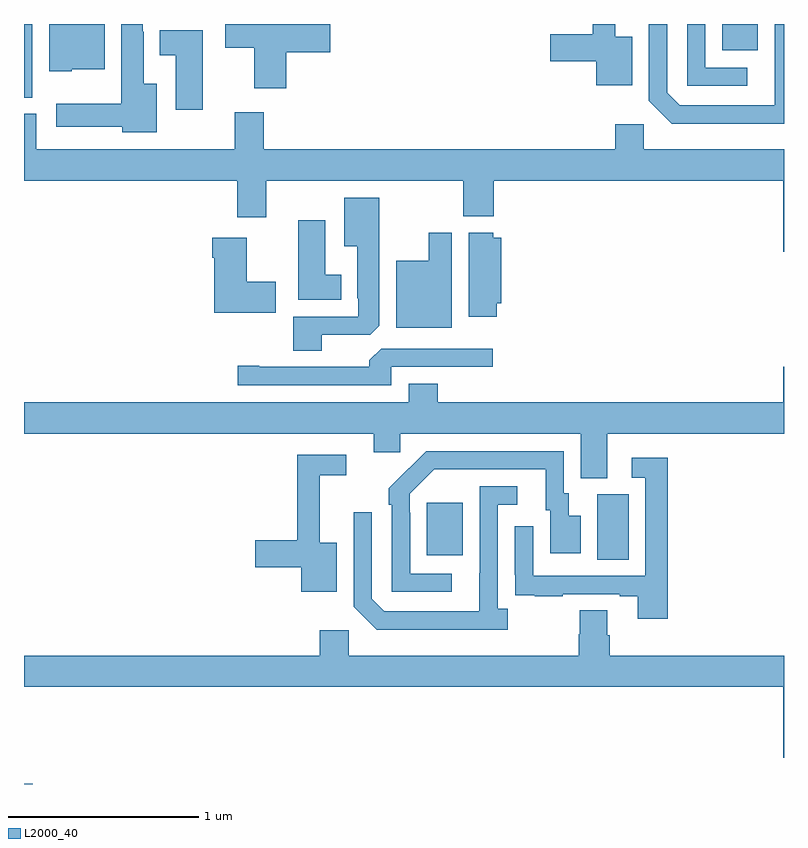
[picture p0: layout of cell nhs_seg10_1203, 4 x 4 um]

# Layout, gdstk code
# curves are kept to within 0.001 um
import gdstk
lib = gdstk.Library(unit=1e-6, precision=1e-09)
def R(c, l, rs):  # rectangles x0, y0, x1, y1
    for r in rs: c.add(gdstk.rectangle(r[:2], r[2:], *l))
def P(c, l, *ps):  # polygons
    for p in ps: c.add(gdstk.Polygon(p, *l))
L2000_40 = (2000, 40)

nhs_seg10_1203 = lib.new_cell('nhs_seg10_1203')
R(nhs_seg10_1203, L2000_40, [(173,1270.5,173.046,1270.502), (176.018,1271.68,176.182,1272.024), (175.121,1271.705,175.309,1271.98), (173,1274.113,173.044,1274.5), (176.675,1274.363,176.863,1274.5)])
P(nhs_seg10_1203, L2000_40, [(176.806,1274.271),(176.586,1274.271),(176.586,1274.5),(176.49,1274.5),(176.49,1274.175),(176.806,1274.175)],
  [(177,1274.5),(176.952,1274.5),(176.952,1274.073),(176.451,1274.073),(176.385,1274.139),(176.385,1274.5),(176.289,1274.5),(176.289,1274.097),(176.41,1273.976),(177,1273.976)],
  [(176.2,1274.434),(176.111,1274.434),(176.111,1274.5),(175.993,1274.5),(175.993,1274.447),(175.77,1274.447),(175.77,1274.305),(176.012,1274.305),(176.012,1274.177),(176.2,1274.177)],
  [(173.698,1274.185),(173.629,1274.185),(173.629,1274.459),(173.625,1274.459),(173.625,1274.5),(173.513,1274.5),(173.513,1274.08),(173.169,1274.08),(173.169,1273.958),(173.517,1273.958),(173.517,1273.931),(173.698,1273.931)],
  [(173.25,1274.261),(173.425,1274.261),(173.425,1274.5),(173.132,1274.5),(173.132,1274.252),(173.25,1274.252)],
  [(174.38,1274.351),(174.613,1274.351),(174.613,1274.498),(174.367,1274.498),(174.367,1274.5),(174.06,1274.5),(174.06,1274.374),(174.212,1274.374),(174.212,1274.163),(174.38,1274.163)],
  [(173.941,1274.467),(173.714,1274.467),(173.714,1274.336),(173.798,1274.336),(173.798,1274.049),(173.941,1274.049)],
  [(177,1273.84),(176.262,1273.84),(176.262,1273.972),(176.111,1273.972),(176.111,1273.84),(174.263,1273.84),(174.263,1274.035),(174.11,1274.035),(174.11,1273.84),(173.065,1273.84),(173.065,1274.028),(173,1274.028),(173,1273.676),(174.122,1273.676),(174.122,1273.482),(174.274,1273.482),(174.274,1273.676),(175.312,1273.676),(175.312,1273.487),(175.472,1273.487),(175.472,1273.676),(176.996,1273.676),(176.996,1273.302),(177,1273.302)],
  [(174.568,1272.864),(174.822,1272.864),(174.871,1272.913),(174.871,1273.585),(174.686,1273.585),(174.686,1273.331),(174.755,1273.331),(174.755,1273.057),(174.759,1273.057),(174.759,1272.96),(174.416,1272.96),(174.416,1272.781),(174.568,1272.781)],
  [(174.67,1273.18),(174.586,1273.18),(174.586,1273.468),(174.443,1273.468),(174.443,1273.049),(174.67,1273.049)],
  [(175.487,1273.031),(175.513,1273.031),(175.513,1273.375),(175.47,1273.375),(175.47,1273.402),(175.34,1273.402),(175.34,1272.96),(175.487,1272.96)],
  [(175.252,1273.402),(175.13,1273.402),(175.13,1273.255),(174.959,1273.255),(174.959,1272.902),(175.252,1272.902)],
  [(174.325,1273.143),(174.172,1273.143),(174.172,1273.375),(173.99,1273.375),(173.99,1273.271),(174.002,1273.271),(174.002,1272.98),(174.325,1272.98)],
  [(174.933,1272.696),(175.468,1272.696),(175.468,1272.792),(174.879,1272.792),(174.818,1272.73),(174.818,1272.696),(174.238,1272.696),(174.238,1272.701),(174.126,1272.701),(174.126,1272.6),(174.933,1272.6)],
  [(176.071,1272.344),(177,1272.344),(177,1272.697),(176.996,1272.697),(176.996,1272.508),(175.178,1272.508),(175.178,1272.607),(175.025,1272.607),(175.025,1272.508),(173,1272.508),(173,1272.344),(174.842,1272.344),(174.842,1272.246),(174.981,1272.246),(174.981,1272.344),(175.931,1272.344),(175.931,1272.109),(176.071,1272.109)],
  [(175.252,1271.607),(175.032,1271.607),(175.032,1271.927),(175.029,1271.927),(175.029,1272.027),(175.158,1272.156),(175.745,1272.156),(175.745,1271.94),(175.769,1271.94),(175.769,1271.715),(175.93,1271.715),(175.93,1271.911),(175.867,1271.911),(175.867,1272.03),(175.842,1272.03),(175.842,1272.252),(175.118,1272.252),(174.921,1272.057),(174.921,1271.969),(174.936,1271.969),(174.936,1271.511),(175.252,1271.511)],
  [(174.646,1271.77),(174.557,1271.77),(174.557,1272.126),(174.697,1272.126),(174.697,1272.234),(174.439,1272.234),(174.439,1271.783),(174.216,1271.783),(174.216,1271.641),(174.458,1271.641),(174.458,1271.513),(174.646,1271.513)],
  [(176.387,1272.217),(176.199,1272.217),(176.199,1272.111),(176.271,1272.111),(176.271,1271.595),(175.68,1271.595),(175.68,1271.857),(175.584,1271.857),(175.584,1271.602),(175.585,1271.602),(175.585,1271.493),(175.687,1271.493),(175.687,1271.487),(175.835,1271.487),(175.835,1271.499),(176.135,1271.499),(176.135,1271.487),(176.231,1271.487),(176.231,1271.37),(176.387,1271.37)],
  [(175.546,1271.422),(175.494,1271.422),(175.494,1271.97),(175.597,1271.97),(175.597,1272.066),(175.398,1272.066),(175.397,1271.409),(174.897,1271.409),(174.831,1271.475),(174.831,1271.929),(174.735,1271.929),(174.735,1271.433),(174.856,1271.312),(175.546,1271.312)],
  [(176.996,1270.638),(177,1270.638),(177,1271.176),(176.084,1271.176),(176.084,1271.282),(176.071,1271.282),(176.071,1271.414),(175.924,1271.414),(175.924,1271.289),(175.919,1271.289),(175.919,1271.176),(174.708,1271.176),(174.708,1271.308),(174.557,1271.308),(174.557,1271.176),(173,1271.176),(173,1271.012),(176.996,1271.012)])

lib.write_gds('nhs_seg10_1203.gds')
